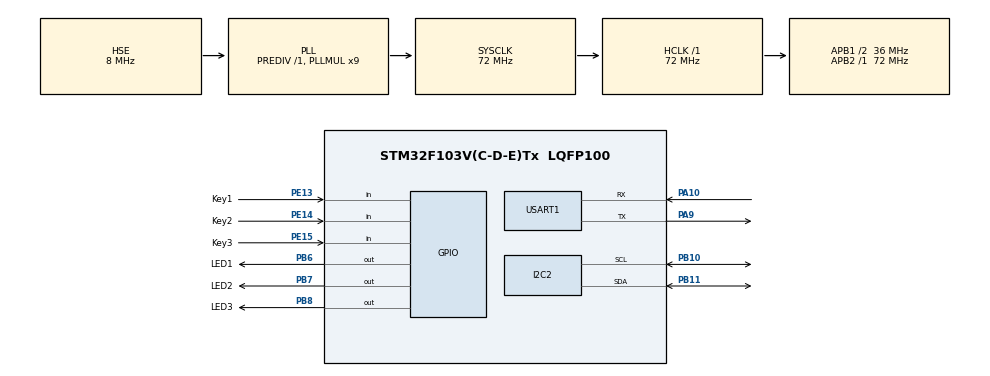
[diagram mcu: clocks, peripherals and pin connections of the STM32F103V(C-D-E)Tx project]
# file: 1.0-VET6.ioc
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Dma.I2C2_TX.0.Direction=DMA_MEMORY_TO_PERIPH
Dma.I2C2_TX.0.Instance=DMA1_Channel4
Dma.I2C2_TX.0.MemDataAlignment=DMA_MDATAALIGN_BYTE
Dma.I2C2_TX.0.MemInc=DMA_MINC_ENABLE
Dma.I2C2_TX.0.Mode=DMA_NORMAL
Dma.I2C2_TX.0.PeriphDataAlignment=DMA_PDATAALIGN_BYTE
Dma.I2C2_TX.0.PeriphInc=DMA_PINC_DISABLE
Dma.I2C2_TX.0.Priority=DMA_PRIORITY_MEDIUM
Dma.Request0=I2C2_TX
Dma.Request1=USART1_RX
Dma.USART1_RX.1.Direction=DMA_PERIPH_TO_MEMORY
Dma.USART1_RX.1.Instance=DMA1_Channel5
Dma.USART1_RX.1.MemDataAlignment=DMA_MDATAALIGN_BYTE
Dma.USART1_RX.1.MemInc=DMA_MINC_ENABLE
Dma.USART1_RX.1.Mode=DMA_CIRCULAR
Dma.USART1_RX.1.PeriphDataAlignment=DMA_PDATAALIGN_BYTE
Dma.USART1_RX.1.PeriphInc=DMA_PINC_DISABLE
Dma.USART1_RX.1.Priority=DMA_PRIORITY_MEDIUM
I2C2.DutyCycle=I2C_DUTYCYCLE_2
I2C2.I2C_Mode=I2C_Fast
Mcu.Family=STM32F1
Mcu.Name=STM32F103V(C-D-E)Tx
Mcu.Package=LQFP100
NVIC.DMA1_Channel4_IRQn=true\:0\:0\:true\:false\:true\:false\:true\:true
NVIC.DMA1_Channel5_IRQn=true\:0\:0\:false\:false\:true\:false\:true\:true
NVIC.I2C2_ER_IRQn=true\:0\:0\:false\:false\:true\:true\:true\:true
NVIC.I2C2_EV_IRQn=true\:0\:0\:false\:false\:true\:true\:true\:true
NVIC.PriorityGroup=NVIC_PRIORITYGROUP_4
NVIC.TIM2_IRQn=true\:0\:0\:false\:false\:true\:true\:true\:true
OSC_IN.Mode=HSE-External-Oscillator
OSC_IN.Signal=RCC_OSC_IN
OSC_OUT.Mode=HSE-External-Oscillator
OSC_OUT.Signal=RCC_OSC_OUT
PA10.Mode=Asynchronous
PA10.Signal=USART1_RX
PA13.Mode=Serial_Wire
PA13.Signal=SYS_JTMS-SWDIO
PA14.Mode=Serial_Wire
PA14.Signal=SYS_JTCK-SWCLK
PA9.Mode=Asynchronous
PA9.Signal=USART1_TX
PB10.Mode=I2C
PB10.Signal=I2C2_SCL
PB11.Mode=I2C
PB11.Signal=I2C2_SDA
PB6.GPIO_Label=LED1
PB6.GPIO_Speed=GPIO_SPEED_FREQ_HIGH
PB6.Signal=GPIO_Output
PB7.GPIO_Label=LED2
PB7.GPIO_Speed=GPIO_SPEED_FREQ_HIGH
PB7.Signal=GPIO_Output
PB8.GPIO_Label=LED3
PB8.GPIO_Speed=GPIO_SPEED_FREQ_HIGH
PB8.Signal=GPIO_Output
PC14-OSC32_IN.Mode=LSE-External-Oscillator
PC14-OSC32_IN.Signal=RCC_OSC32_IN
PC15-OSC32_OUT.Mode=LSE-External-Oscillator
PC15-OSC32_OUT.Signal=RCC_OSC32_OUT
PE13.GPIO_Label=Key1
PE13.GPIO_PuPd=GPIO_PULLUP
PE13.Signal=GPIO_Input
PE14.GPIO_Label=Key2
PE14.GPIO_PuPd=GPIO_PULLUP
PE14.Signal=GPIO_Input
PE15.GPIO_Label=Key3
PE15.GPIO_PuPd=GPIO_PULLUP
PE15.Signal=GPIO_Input
ProjectManager.HeapSize=0x200
ProjectManager.StackSize=0x400
ProjectManager.TargetToolchain=MDK-ARM V5.32
RCC.AHBFreq_Value=72000000
RCC.APB1CLKDivider=RCC_HCLK_DIV2
RCC.APB1Freq_Value=36000000
RCC.APB1TimFreq_Value=72000000
RCC.APB2Freq_Value=72000000
RCC.APB2TimFreq_Value=72000000
RCC.HCLKFreq_Value=72000000
RCC.PLLMUL=RCC_PLL_MUL9
RCC.PLLSourceVirtual=RCC_PLLSOURCE_HSE
RCC.SYSCLKFreq_VALUE=72000000
RCC.SYSCLKSource=RCC_SYSCLKSOURCE_PLLCLK
RCC.USBFreq_Value=72000000
TIM2.Period=1000-1
TIM2.Prescaler=72-1
USART1.VirtualMode=VM_ASYNC
VP_TIM2_VS_ClockSourceINT.Mode=Internal
board=custom

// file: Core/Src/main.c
/* USER CODE BEGIN Header */
/**
 ******************************************************************************
 * @file           : main.c
 * @brief          : Main program body
 ******************************************************************************
 * @attention
 *
 * Copyright (c) 2026 STMicroelectronics.
 * All rights reserved.
 *
 * This software is licensed under terms that can be found in the LICENSE file
 * in the root directory of this software component.
 * If no LICENSE file comes with this software, it is provided AS-IS.
 *
 ******************************************************************************
 */
/* USER CODE END Header */
#include "main.h"
#include "dma.h"
#include "i2c.h"
#include "tim.h"
#include "usart.h"
#include "gpio.h"

/* USER CODE BEGIN Includes */
#include "OLED.h"
#include "math.h"
#include "KEY.h"
#include "Circular.h"
/* USER CODE END Includes */

void SystemClock_Config(void);

int main(void)
{

  /* USER CODE BEGIN 1 */
  CircularBuffer *buf = (CircularBuffer *)malloc(sizeof(CircularBuffer));
  uint8_t dest[150];
  uint16_t pos = 0;
  /* USER CODE END 1 */

  /* MCU Configuration--------------------------------------------------------*/

  /* Reset of all peripherals, Initializes the Flash interface and the Systick. */
  HAL_Init();

  /* Configure the system clock */
  SystemClock_Config();

  /* Initialize all configured peripherals */
  MX_GPIO_Init();
  MX_DMA_Init();
  MX_USART1_UART_Init();
  MX_I2C2_Init();
  MX_TIM2_Init();
  /* USER CODE BEGIN 2 */
  HAL_TIM_Base_Start_IT(&htim2);
  OLED_Init();
  circular_buffer_init(buf, RingBuffer, BUFFER_LEN);
  HAL_UART_Receive_DMA(&huart1, RingBuffer, BUFFER_LEN);
  /* USER CODE END 2 */

  /* Infinite loop */
  while (1)
  {

    /* USER CODE BEGIN 3 */
    circular_Write(buf);
    if (circular_Read_Size(buf, 140, dest, pos) == 0)
    {
      uint8_t s[7][21] = {'\0'};

      OLED_Clear();

      for (int j = 0; j < 7; j++)
        for (int i = 0; i < 20; i++)
        {
          s[j][i] = dest[pos + i + j * 20];
        }

      pos = (pos + 20) % 140;

      for (int i = 0; i < 7; i++)
        OLED_ShowString(0, 8 * (i + 1), s[i], 6);
      OLED_Update();
    }
  }
  /* USER CODE END 3 */
}

void SystemClock_Config(void)
{
  RCC_OscInitTypeDef RCC_OscInitStruct = {0};
  RCC_ClkInitTypeDef RCC_ClkInitStruct = {0};

  /** Initializes the RCC Oscillators according to the specified parameters
   * in the RCC_OscInitTypeDef structure.
   */
  RCC_OscInitStruct.OscillatorType = RCC_OSCILLATORTYPE_HSE;
  RCC_OscInitStruct.HSEState = RCC_HSE_ON;
  RCC_OscInitStruct.HSEPredivValue = RCC_HSE_PREDIV_DIV1;
  RCC_OscInitStruct.HSIState = RCC_HSI_ON;
  RCC_OscInitStruct.PLL.PLLState = RCC_PLL_ON;
  RCC_OscInitStruct.PLL.PLLSource = RCC_PLLSOURCE_HSE;
  RCC_OscInitStruct.PLL.PLLMUL = RCC_PLL_MUL9;
  if (HAL_RCC_OscConfig(&RCC_OscInitStruct) != HAL_OK)
  {
    Error_Handler();
  }

  /** Initializes the CPU, AHB and APB buses clocks
   */
  RCC_ClkInitStruct.ClockType = RCC_CLOCKTYPE_HCLK | RCC_CLOCKTYPE_SYSCLK | RCC_CLOCKTYPE_PCLK1 | RCC_CLOCKTYPE_PCLK2;
  RCC_ClkInitStruct.SYSCLKSource = RCC_SYSCLKSOURCE_PLLCLK;
  RCC_ClkInitStruct.AHBCLKDivider = RCC_SYSCLK_DIV1;
  RCC_ClkInitStruct.APB1CLKDivider = RCC_HCLK_DIV2;
  RCC_ClkInitStruct.APB2CLKDivider = RCC_HCLK_DIV1;

  if (HAL_RCC_ClockConfig(&RCC_ClkInitStruct, FLASH_LATENCY_2) != HAL_OK)
  {
    Error_Handler();
  }
}

/* USER CODE BEGIN 4 */
void HAL_TIM_PeriodElapsedCallback(TIM_HandleTypeDef *htim)
{
  if (htim->Instance == TIM2)
  {
    KEY_Tick();
  }
}
/* USER CODE END 4 */

void Error_Handler(void)
{
  __disable_irq();
  while (1)
  {
  }
}
